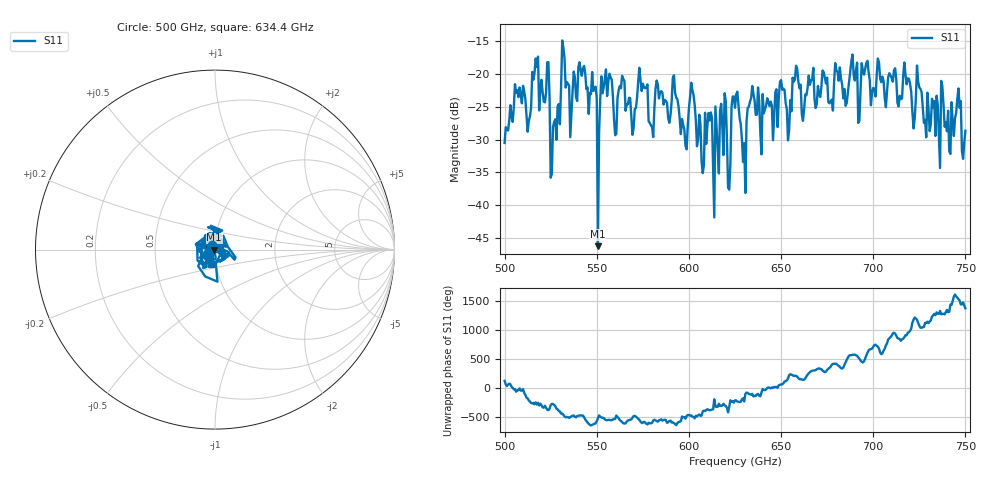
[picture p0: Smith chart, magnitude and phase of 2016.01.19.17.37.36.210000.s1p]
!Created with skrf (http://scikit-rf.org).
# GHz S RI R 50.0
!freq ReS11 ImS11
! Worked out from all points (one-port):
!   401 points, 500 GHz to 750 GHz, reference 50 ohm
!   lowest |S11| = -46.2 dB at 550.6 GHz (marker M1), VSWR 1.01, Z = 49.5 - j0.0908 ohm
!   |S11| at or under -10 dB: start of sweep to end of sweep
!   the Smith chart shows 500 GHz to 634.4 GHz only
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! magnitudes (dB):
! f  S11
! 500 GHz  -30.5
! 506.9 GHz  -22.5
! 513.1 GHz  -27.2
! 516.9 GHz  -17.7
! 523.1 GHz  -18.2
! 526.2 GHz  -28.1
! 531.2 GHz  -14.9
! 548.8 GHz  -22.4
! 550.6 GHz  -46.2
! 553.8 GHz  -22.1
! 562.5 GHz  -21.9
! 570 GHz  -28.2
! 576.2 GHz  -22.2
! 579.4 GHz  -27.8
! 583.1 GHz  -21.6
! 593.8 GHz  -23.9
! 598.1 GHz  -30.9
! 601.9 GHz  -22.5
! 608.1 GHz  -33.9
! 618.8 GHz  -32.4
! 621.9 GHz  -37.6
! 625 GHz  -25.2
! 629.4 GHz  -33.4
! 633.8 GHz  -23.7
! 656.2 GHz  -20.6
! 687.5 GHz  -19.8
! 718.8 GHz  -20.7
! 750 GHz  -28.7
